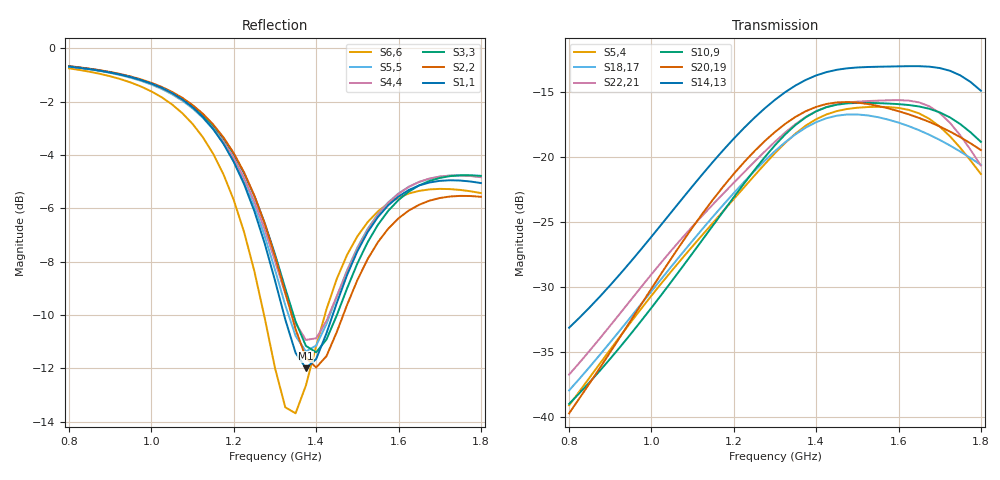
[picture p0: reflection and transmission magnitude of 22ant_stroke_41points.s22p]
# GHz S RI R 50
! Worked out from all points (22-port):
!   41 points, 800 MHz to 1.8 GHz, reference 50 ohm
!   strongest paths, dB at 800 MHz, 1.05 GHz, 1.3 GHz, 1.55 GHz, 1.8 GHz:
!     S14,13: -33.2, -24.2, -15.6, -13.1, -14.9
!     S20,19: -39.7, -27.7, -18.1, -16.1, -19.5
!     S10,9: -39.0, -29.5, -19.1, -15.9, -18.9
!     S22,21: -36.8, -27.1, -18.8, -15.7, -20.7
!     S18,17: -38.0, -28.4, -19.6, -17.0, -20.6
!     S5,4: -39.1, -28.7, -19.7, -16.2, -21.3
!   lowest |S11| = -12.0 dB at 1.375 GHz (marker M1), VSWR 1.67, Z = 29.9 - j0.934 ohm
!   |S11| at or under -10 dB: 1.322 GHz to 1.44 GHz (118.2 MHz wide, 8.56 % of centre)
